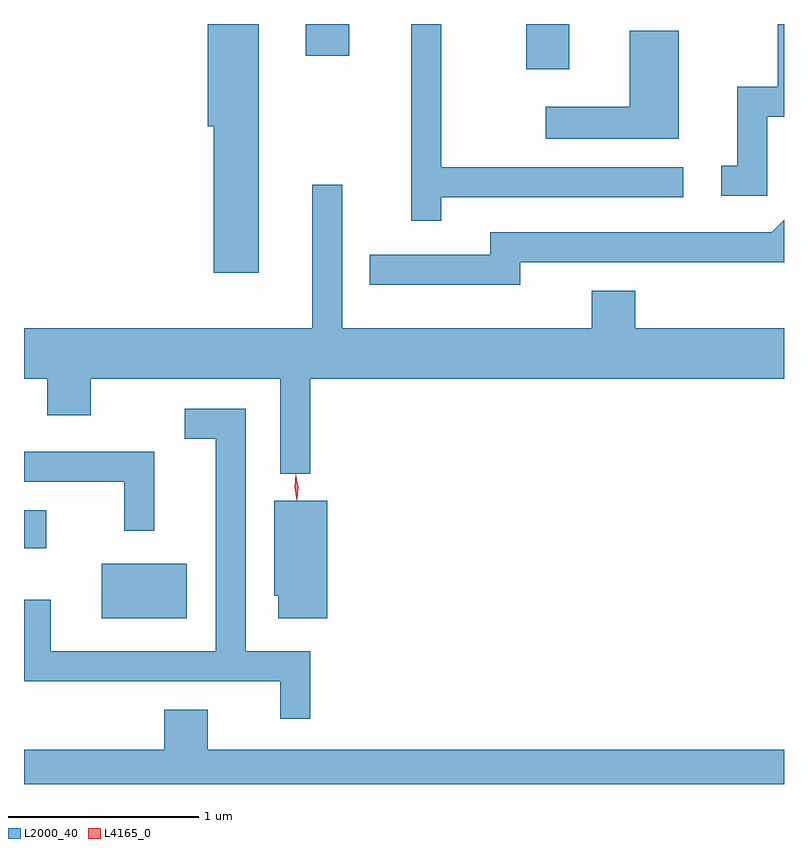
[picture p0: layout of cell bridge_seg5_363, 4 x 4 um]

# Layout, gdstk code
import gdstk
lib = gdstk.Library(unit=1e-6, precision=1e-09)
def R(c, l, rs):  # rectangles x0, y0, x1, y1
    for r in rs: c.add(gdstk.rectangle(r[:2], r[2:], *l))
def P(c, l, *ps):  # polygons
    for p in ps: c.add(gdstk.Polygon(p, *l))
L2000_40 = (2000, 40)
L4165_0 = (4165, 0)

bridge_seg5_363 = lib.new_cell('bridge_seg5_363')
R(bridge_seg5_363, L2000_40, [(530.316,1473.296,530.764,1473.584), (529.908,1473.666,530.024,1473.864), (532.551,1476.186,532.779,1476.424), (531.391,1476.256,531.619,1476.424)])
P(bridge_seg5_363, L2000_40, [(532.104,1475.511),(533.378,1475.511),(533.378,1475.669),(532.104,1475.669),(532.104,1476.424),(531.946,1476.424),(531.946,1475.388),(532.104,1475.388)],
  [(531.144,1476.424),(530.876,1476.424),(530.876,1475.886),(530.906,1475.886),(530.906,1475.116),(531.144,1475.116)],
  [(533.819,1475.936),(533.908,1475.936),(533.908,1476.424),(533.876,1476.424),(533.876,1476.094),(533.661,1476.094),(533.661,1475.679),(533.578,1475.679),(533.578,1475.521),(533.819,1475.521)],
  [(533.354,1476.389),(533.096,1476.389),(533.096,1475.989),(532.653,1475.989),(532.653,1475.821),(533.354,1475.821)],
  [(531.414,1474.556),(533.908,1474.556),(533.908,1474.824),(533.124,1474.824),(533.124,1475.019),(532.896,1475.019),(532.896,1474.824),(531.584,1474.824),(531.584,1475.578),(531.426,1475.578),(531.426,1474.824),(529.908,1474.824),(529.908,1474.556),(530.031,1474.556),(530.031,1474.366),(530.259,1474.366),(530.259,1474.556),(531.256,1474.556),(531.256,1474.058),(531.414,1474.058)],
  [(532.519,1475.171),(533.908,1475.171),(533.908,1475.394),(533.844,1475.329),(532.361,1475.329),(532.361,1475.209),(531.728,1475.209),(531.728,1475.051),(532.519,1475.051)],
  [(531.414,1473.124),(531.074,1473.124),(531.074,1474.399),(530.753,1474.399),(530.753,1474.241),(530.916,1474.241),(530.916,1473.124),(530.049,1473.124),(530.049,1473.393),(529.908,1473.393),(529.908,1472.966),(531.256,1472.966),(531.256,1472.768),(531.414,1472.768)],
  [(530.594,1474.174),(529.908,1474.174),(529.908,1474.016),(530.436,1474.016),(530.436,1473.758),(530.594,1473.758)],
  [(531.504,1473.914),(531.226,1473.914),(531.226,1473.416),(531.246,1473.416),(531.246,1473.296),(531.504,1473.296)],
  [(533.908,1472.604),(530.874,1472.604),(530.874,1472.814),(530.646,1472.814),(530.646,1472.604),(529.908,1472.604),(529.908,1472.424),(533.908,1472.424)])
P(bridge_seg5_363, L4165_0, [(531.344,1473.918),(531.344,1473.918),(531.332,1473.986),(531.338,1474.055),(531.339,1474.055),(531.339,1474.055),(531.351,1473.987),(531.344,1473.918)],
  [(531.345,1473.92),(531.344,1473.921),(531.332,1473.986),(531.338,1474.051),(531.339,1474.052),(531.339,1474.051),(531.352,1473.987),(531.346,1473.921)])

lib.write_gds('bridge_seg5_363.gds')
